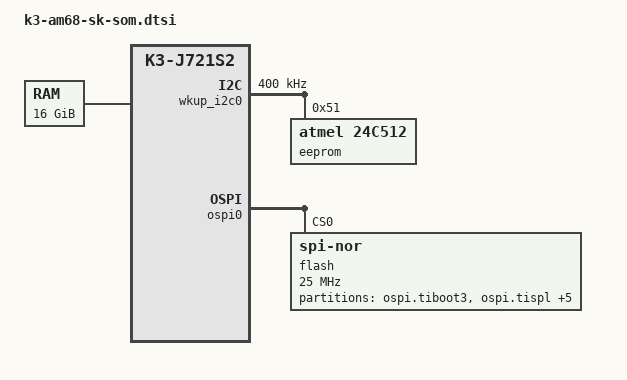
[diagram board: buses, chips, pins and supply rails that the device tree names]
// SPDX-License-Identifier: GPL-2.0-only OR MIT
/*
 * Copyright (C) 2023-2024 Texas Instruments Incorporated - https://www.ti.com/
 */

/dts-v1/;

#include "k3-j721s2.dtsi"
#include <dt-bindings/gpio/gpio.h>

/ {
	memory@80000000 {
		device_type = "memory";
		bootph-all;
		/* 16 GB RAM */
		reg = <0x00000000 0x80000000 0x00000000 0x80000000>,
		      <0x00000008 0x80000000 0x00000003 0x80000000>;
	};

	reserved_memory: reserved-memory {
		#address-cells = <2>;
		#size-cells = <2>;
		ranges;

		secure_ddr: optee@9e800000 {
			reg = <0x00 0x9e800000 0x00 0x01800000>;
			no-map;
		};

		mcu_r5fss0_core0_dma_memory_region: memory@a0000000 {
			compatible = "shared-dma-pool";
			reg = <0x00 0xa0000000 0x00 0x100000>;
			no-map;
		};

		mcu_r5fss0_core0_memory_region: memory@a0100000 {
			compatible = "shared-dma-pool";
			reg = <0x00 0xa0100000 0x00 0xf00000>;
			no-map;
		};
	};
};

&wkup_pmx0 {
	mcu_fss0_ospi0_pins_default: mcu-fss0-ospi0-pins {
		bootph-all;
		pinctrl-single,pins = <
			J721S2_WKUP_IOPAD(0x000, PIN_OUTPUT, 0) /* (D19) MCU_OSPI0_CLK */
			J721S2_WKUP_IOPAD(0x02c, PIN_OUTPUT, 0) /* (F15) MCU_OSPI0_CSn0 */
			J721S2_WKUP_IOPAD(0x00c, PIN_INPUT, 0) /* (C19) MCU_OSPI0_D0 */
			J721S2_WKUP_IOPAD(0x010, PIN_INPUT, 0) /* (F16) MCU_OSPI0_D1 */
			J721S2_WKUP_IOPAD(0x014, PIN_INPUT, 0) /* (G15) MCU_OSPI0_D2 */
			J721S2_WKUP_IOPAD(0x018, PIN_INPUT, 0) /* (F18) MCU_OSPI0_D3 */
			J721S2_WKUP_IOPAD(0x01c, PIN_INPUT, 0) /* (E19) MCU_OSPI0_D4 */
			J721S2_WKUP_IOPAD(0x020, PIN_INPUT, 0) /* (G19) MCU_OSPI0_D5 */
			J721S2_WKUP_IOPAD(0x024, PIN_INPUT, 0) /* (F19) MCU_OSPI0_D6 */
			J721S2_WKUP_IOPAD(0x028, PIN_INPUT, 0) /* (F20) MCU_OSPI0_D7 */
			J721S2_WKUP_IOPAD(0x008, PIN_INPUT, 0) /* (E18) MCU_OSPI0_DQS */
		>;
	};
};

&wkup_pmx2 {
	wkup_i2c0_pins_default: wkup-i2c0-default-pins {
		pinctrl-single,pins = <
			J721S2_WKUP_IOPAD(0x098, PIN_INPUT, 0) /* (H24) WKUP_I2C0_SCL */
			J721S2_WKUP_IOPAD(0x09c, PIN_INPUT, 0) /* (H27) WKUP_I2C0_SDA */
		>;
		bootph-all;
	};
};

&wkup_i2c0 {
	status = "okay";
	pinctrl-names = "default";
	pinctrl-0 = <&wkup_i2c0_pins_default>;
	clock-frequency = <400000>;

	eeprom@51 {
		/* AT24C512C-MAHM-T */
		compatible = "atmel,24c512";
		reg = <0x51>;
		bootph-all;
	};
};

&ospi0 {
	status = "okay";
	pinctrl-names = "default";
	pinctrl-0 = <&mcu_fss0_ospi0_pins_default>;

	flash@0 {
		compatible = "jedec,spi-nor";
		reg = <0x0>;
		spi-tx-bus-width = <8>;
		spi-rx-bus-width = <8>;
		spi-max-frequency = <25000000>;
		cdns,tshsl-ns = <60>;
		cdns,tsd2d-ns = <60>;
		cdns,tchsh-ns = <60>;
		cdns,tslch-ns = <60>;
		cdns,read-delay = <4>;

		partitions {
			compatible = "fixed-partitions";
			#address-cells = <1>;
			#size-cells = <1>;

			partition@0 {
				label = "ospi.tiboot3";
				reg = <0x0 0x80000>;
			};

			partition@80000 {
				label = "ospi.tispl";
				reg = <0x80000 0x200000>;
			};

			partition@280000 {
				label = "ospi.u-boot";
				reg = <0x280000 0x400000>;
			};

			partition@680000 {
				label = "ospi.env";
				reg = <0x680000 0x40000>;
			};

			partition@6c0000 {
				label = "ospi.env.backup";
				reg = <0x6c0000 0x40000>;
			};

			partition@800000 {
				label = "ospi.rootfs";
				reg = <0x800000 0x37c0000>;
			};

			partition@3fc0000 {
				label = "ospi.phypattern";
				reg = <0x3fc0000 0x40000>;
				bootph-all;
			};
		};
	};
};

#include "k3-j721s2-ti-ipc-firmware.dtsi"
